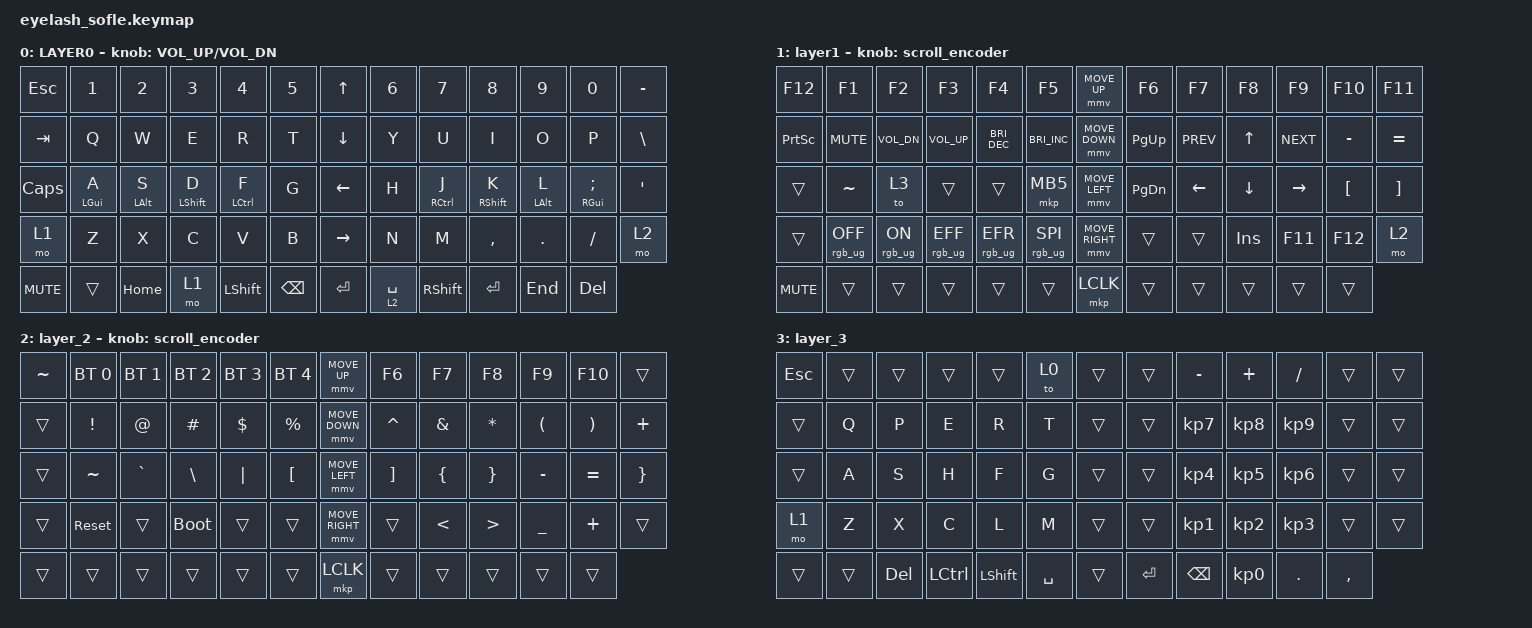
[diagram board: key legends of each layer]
#define ZMK_POINTING_DEFAULT_MOVE_VAL 1200  // 600
#define ZMK_POINTING_DEFAULT_SCRL_VAL 25   // 10

#include <input/processors.dtsi>
#include <zephyr/dt-bindings/input/input-event-codes.h>
#include <behaviors.dtsi>
#include <dt-bindings/zmk/bt.h>
#include <dt-bindings/zmk/keys.h>
#include <dt-bindings/zmk/pointing.h>
#include <dt-bindings/zmk/rgb.h>

&mmv_input_listener { input-processors = <&zip_xy_scaler 2 1>; };

&msc_input_listener { input-processors = <&zip_scroll_scaler 2 1>; };

&msc {
    acceleration-exponent = <1>;      // 0
    time-to-max-speed-ms = <100>;       // 300
    delay-ms = <0>;                   // 0
};

&mmv {
    time-to-max-speed-ms = <500>;
    acceleration-exponent = <1>;
    trigger-period-ms = <16>;
};

&mt {
    hold-trigger-on-release;
    tapping-term-ms = <250>;
    quick-tap-ms = <175>;
    flavor = "tap-preferred";
    retro-tap;
    hold-trigger-key-positions = <0 1 2 3 4 5 6 7 8 9 10 11 12 13 14 15 16 17 18 19 20 21 22 23 24 25 26 27 28 29 30 31 32 33 34 35 36 37 38 39 40 41 42 43 44 45 46 47 48 49 50 51 52 53 54 55 56 57 58 59 60 61 62 63>;
};

/ {
    scroll_encoder: scroll_encoder {
        compatible = "zmk,behavior-sensor-rotate";
        #sensor-binding-cells = <0>;
        bindings = <&msc SCRL_DOWN>, <&msc SCRL_UP>;

        tap-ms = <100>;
    };

    behaviors {
    };

    keymap {
        compatible = "zmk,keymap";

        layer0 {
            bindings = <
&kp ESC     &kp N1          &kp N2      &kp N3       &kp N4          &kp N5           &kp UP_ARROW     &kp N6       &kp N7           &kp N8       &kp N9      &kp N0                   &kp MINUS
&kp TAB     &kp Q           &kp W       &kp E        &kp R           &kp T            &kp DOWN_ARROW   &kp Y        &kp U            &kp I        &kp O       &kp P                    &kp BSLH
&kp CAPS    &mt LEFT_GUI A  &mt LALT S  &mt LSHFT D  &mt LCTRL F     &kp G            &kp LEFT_ARROW   &kp H        &mt RCTRL J      &mt RSHFT K  &mt LALT L  &mt RIGHT_GUI SEMICOLON  &kp APOS
&mo 1       &kp Z           &kp X       &kp C        &kp V           &kp B            &kp RIGHT_ARROW  &kp N        &kp M            &kp COMMA    &kp DOT     &kp FSLH                 &mo 2
&kp C_MUTE  &trans          &kp HOME    &mo 1        &kp LEFT_SHIFT  &kp BACKSPACE    &kp ENTER        &lt 2 SPACE  &kp RIGHT_SHIFT  &kp ENTER    &kp END     &kp DELETE
            >;

            sensor-bindings = <&inc_dec_kp C_VOLUME_UP C_VOL_DN>;
            display-name = "LAYER0";
        };

        layer_1 {
            bindings = <
&kp F12          &kp F1           &kp F2          &kp F3           &kp F4                &kp F5                  &mmv MOVE_UP     &kp F6     &kp F7      &kp F8      &kp F9      &kp F10           &kp F11
&kp PRINTSCREEN  &kp K_MUTE       &kp C_VOL_DN    &kp C_VOLUME_UP  &kp C_BRIGHTNESS_DEC  &kp C_BRIGHTNESS_INC    &mmv MOVE_DOWN   &kp PG_UP  &kp C_PREV  &kp UP      &kp C_NEXT  &kp MINUS         &kp EQUAL
&trans           &kp TILDE        &to 3           &trans           &trans                &mkp MB5                &mmv MOVE_LEFT   &kp PG_DN  &kp LEFT    &kp DOWN    &kp RIGHT   &kp LEFT_BRACKET  &kp RIGHT_BRACKET
&trans           &rgb_ug RGB_OFF  &rgb_ug RGB_ON  &rgb_ug RGB_EFF  &rgb_ug RGB_EFR       &rgb_ug RGB_SPI         &mmv MOVE_RIGHT  &trans     &trans      &kp INSERT  &kp F11     &kp F12           &mo 2
&kp C_MUTE       &trans           &trans          &trans           &trans                &trans                  &mkp LCLK        &trans     &trans      &trans      &trans      &trans
            >;

            display-name = "layer1";
            sensor-bindings = <&scroll_encoder>;
        };

        layer_2 {
            bindings = <
&kp TILDE  &bt BT_SEL 0     &bt BT_SEL 1  &bt BT_SEL 2   &bt BT_SEL 3  &bt BT_SEL 4        &mmv MOVE_UP     &kp F6             &kp F7          &kp F8            &kp F9                &kp F10                &trans
&trans     &kp EXCLAMATION  &kp AT_SIGN   &kp HASH       &kp DOLLAR    &kp PERCENT         &mmv MOVE_DOWN   &kp CARET          &kp AMPERSAND   &kp ASTERISK      &kp LEFT_PARENTHESIS  &kp RIGHT_PARENTHESIS  &kp PLUS
&trans     &kp TILDE        &kp GRAVE     &kp BACKSLASH  &kp PIPE      &kp LEFT_BRACKET    &mmv MOVE_LEFT   &kp RIGHT_BRACKET  &kp LEFT_BRACE  &kp RIGHT_BRACE   &kp MINUS             &kp EQUAL              &kp RBRC
&trans     &sys_reset       &trans        &bootloader    &trans        &trans              &mmv MOVE_RIGHT  &trans             &kp LESS_THAN   &kp GREATER_THAN  &kp UNDERSCORE        &kp PLUS               &trans
&trans     &trans           &trans        &trans         &trans        &trans              &mkp LCLK        &trans             &trans          &trans            &trans                &trans
            >;

            sensor-bindings = <&scroll_encoder>;
        };

        layer_3 {
            bindings = <
&kp ESCAPE  &trans  &trans      &trans     &trans          &to 0        &trans  &trans     &kp MINUS        &kp PLUS         &kp SLASH        &trans     &trans
&trans      &kp Q   &kp P       &kp E      &kp R           &kp T        &trans  &trans     &kp KP_NUMBER_7  &kp KP_NUMBER_8  &kp KP_NUMBER_9  &trans     &trans
&trans      &kp A   &kp S       &kp H      &kp F           &kp G        &trans  &trans     &kp KP_NUMBER_4  &kp KP_NUMBER_5  &kp KP_NUMBER_6  &trans     &trans
&mo 1       &kp Z   &kp X       &kp C      &kp L           &kp M        &trans  &trans     &kp KP_NUMBER_1  &kp KP_NUMBER_2  &kp KP_NUMBER_3  &trans     &trans
&trans      &trans  &kp DELETE  &kp LCTRL  &kp LEFT_SHIFT  &kp SPACE    &trans  &kp ENTER  &kp BACKSPACE    &kp KP_NUMBER_0  &kp PERIOD       &kp COMMA
            >;
        };
    };
};
